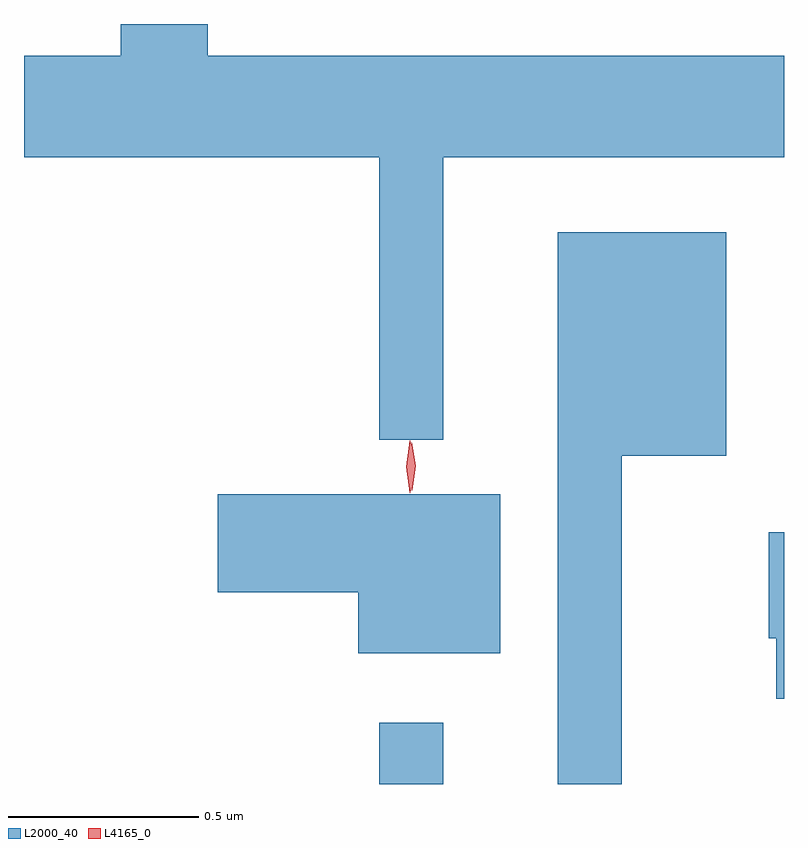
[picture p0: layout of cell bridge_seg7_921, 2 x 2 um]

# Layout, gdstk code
import gdstk
lib = gdstk.Library(unit=1e-6, precision=1e-09)
def R(c, l, rs):  # rectangles x0, y0, x1, y1
    for r in rs: c.add(gdstk.rectangle(r[:2], r[2:], *l))
def P(c, l, *ps):  # polygons
    for p in ps: c.add(gdstk.Polygon(p, *l))
L2000_40 = (2000, 40)
L4165_0 = (4165, 0)

bridge_seg7_921 = lib.new_cell('bridge_seg7_921')
R(bridge_seg7_921, L2000_40, [(205.361,1699.347,205.529,1699.508)])
P(bridge_seg7_921, L2000_40, [(205.529,1700.996),(206.426,1700.996),(206.426,1701.264),(204.909,1701.264),(204.909,1701.347),(204.681,1701.347),(204.681,1701.264),(204.426,1701.264),(204.426,1700.996),(205.361,1700.996),(205.361,1700.253),(205.529,1700.253)],
  [(205.999,1700.211),(206.274,1700.211),(206.274,1700.799),(205.831,1700.799),(205.831,1699.347),(205.999,1699.347)],
  [(205.679,1700.109),(204.936,1700.109),(204.936,1699.851),(205.306,1699.851),(205.306,1699.691),(205.679,1699.691)],
  [(206.426,1700.009),(206.386,1700.009),(206.386,1699.731),(206.406,1699.731),(206.406,1699.571),(206.426,1699.571)])
P(bridge_seg7_921, L4165_0, [(205.447,1700.12),(205.447,1700.12),(205.437,1700.184),(205.446,1700.246),(205.447,1700.247),(205.447,1700.246),(205.457,1700.184),(205.448,1700.12)],
  [(205.441,1700.114),(205.432,1700.182),(205.441,1700.25),(205.442,1700.25),(205.442,1700.25),(205.452,1700.182),(205.442,1700.114),(205.442,1700.114)])

lib.write_gds('bridge_seg7_921.gds')
